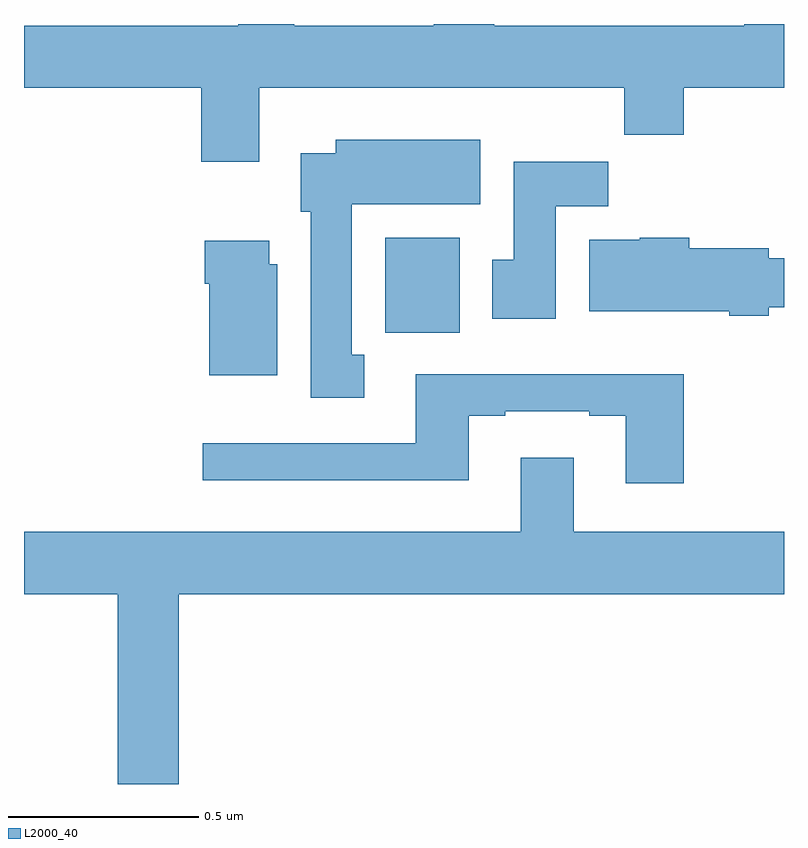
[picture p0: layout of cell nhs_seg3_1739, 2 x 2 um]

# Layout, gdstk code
import gdstk
lib = gdstk.Library(unit=1e-6, precision=1e-09)
def R(c, l, rs):  # rectangles x0, y0, x1, y1
    for r in rs: c.add(gdstk.rectangle(r[:2], r[2:], *l))
def P(c, l, *ps):  # polygons
    for p in ps: c.add(gdstk.Polygon(p, *l))
L2000_40 = (2000, 40)

nhs_seg3_1739 = lib.new_cell('nhs_seg3_1739')
R(nhs_seg3_1739, L2000_40, [(132.951,717.588,133.147,717.838)])
P(nhs_seg3_1739, L2000_40, [(132.619,718.232),(133.579,718.232),(133.579,718.108),(133.736,718.108),(133.736,718.232),(134,718.232),(134,718.4),(133.895,718.4),(133.895,718.396),(133.238,718.396),(133.238,718.4),(133.078,718.4),(133.078,718.396),(132.711,718.396),(132.711,718.4),(132.564,718.4),(132.564,718.396),(132,718.396),(132,718.232),(132.467,718.232),(132.467,718.038),(132.619,718.038)],
  [(132.895,717.529),(132.862,717.529),(132.862,717.926),(133.201,717.926),(133.201,718.096),(132.821,718.096),(132.821,718.06),(132.728,718.06),(132.728,717.906),(132.755,717.906),(132.755,717.417),(132.895,717.417)],
  [(133.399,717.92),(133.538,717.92),(133.538,718.038),(133.289,718.038),(133.289,717.78),(133.232,717.78),(133.232,717.624),(133.399,717.624)],
  [(133.96,717.655),(134,717.655),(134,717.784),(133.96,717.784),(133.96,717.81),(133.751,717.81),(133.751,717.838),(133.62,717.838),(133.62,717.832),(133.487,717.832),(133.487,717.644),(133.856,717.644),(133.856,717.632),(133.96,717.632)],
  [(132.667,717.768),(132.646,717.768),(132.646,717.829),(132.476,717.829),(132.476,717.716),(132.488,717.716),(132.488,717.476),(132.667,717.476)],
  [(133.736,717.478),(133.031,717.478),(133.031,717.297),(132.471,717.297),(132.471,717.2),(133.171,717.2),(133.171,717.369),(133.267,717.369),(133.267,717.381),(133.487,717.381),(133.487,717.369),(133.583,717.369),(133.583,717.192),(133.736,717.192)],
  [(132.407,716.9),(134,716.9),(134,717.064),(133.447,717.064),(133.447,717.259),(133.307,717.259),(133.307,717.064),(132,717.064),(132,716.9),(132.247,716.9),(132.247,716.4),(132.407,716.4)])

lib.write_gds('nhs_seg3_1739.gds')
